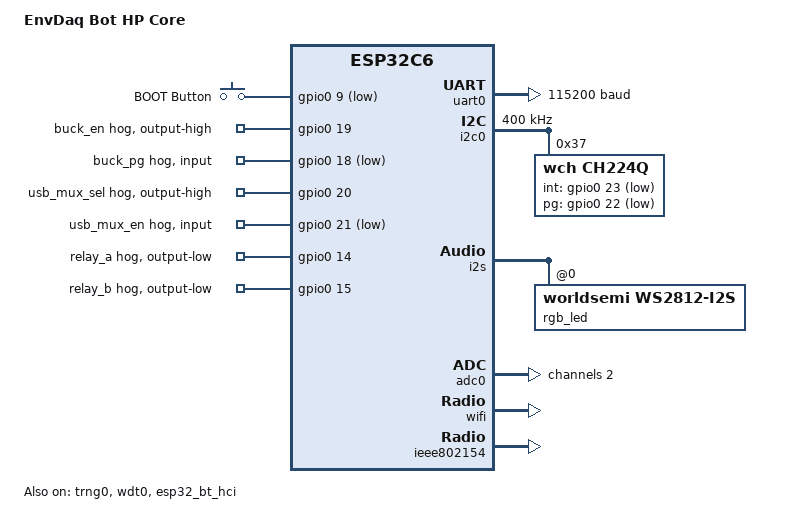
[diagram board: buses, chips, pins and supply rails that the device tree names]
/*
 * Copyright (c) 2026 Yongci
 *
 * SPDX-License-Identifier: Apache-2.0
 */

/dts-v1/;

#include <espressif/esp32c6/esp32c6_wroom_n4.dtsi>
#include "envdaq_bot_hpcore-pinctrl.dtsi"
#include <zephyr/dt-bindings/input/input-event-codes.h>
#include <zephyr/dt-bindings/led/led.h>
#include <espressif/partitions_0x0_default_4M.dtsi>

/ {
	model = "EnvDaq Bot HP Core";
	compatible = "envdaq,bot";

	chosen {
		zephyr,sram = &sramhp;
		zephyr,console = &uart0;
		zephyr,shell-uart = &uart0;
		zephyr,flash = &flash0;
		zephyr,code-partition = &slot0_partition;
		zephyr,ieee802154 = &ieee802154;
	};

	aliases {
		watchdog0 = &wdt0;
		i2c-0 = &i2c0;
		sw0 = &button0;
		rgb0 = &rgb_led;
		led-strip = &rgb_led;
	};

	buttons {
		compatible = "gpio-keys";

		button0: button_0 {
			gpios = <&gpio0 9 (GPIO_PULL_UP | GPIO_ACTIVE_LOW)>;
			label = "BOOT Button";
			zephyr,code = <INPUT_KEY_0>;
		};
	};
};

&uart0 {
	status = "okay";
	current-speed = <115200>;
	pinctrl-0 = <&uart0_default>;
	pinctrl-names = "default";
};

&trng0 {
	status = "okay";
};

&i2c0 {
	status = "okay";
	clock-frequency = <I2C_BITRATE_FAST>;
	pinctrl-0 = <&i2c0_default>;
	pinctrl-names = "default";

	ch224q: usbc-controller@37 {
        compatible = "wch,ch224q";
        reg = <0x37>;
        mode = "i2c";
        voltage-request = <20000>;
        int-gpios = <&gpio0 23 GPIO_ACTIVE_LOW>;
        pg-gpios = <&gpio0 22 GPIO_ACTIVE_LOW>;   /* PG pin - active low */
    };

	/*
	htu21d: {

	};

	bmp180: {

	};

	bh1750: {

	};

	*/
};

&i2s {
	pinctrl-0 = <&i2s_default>;
	pinctrl-names = "default";
	status = "okay";

	dmas = <&dma 3>;
	dma-names = "tx";

	rgb_led: ws2812@0 {
		compatible = "worldsemi,ws2812-i2s";

		reg = <0>;
		chain-length = <1>;
		color-mapping = <LED_COLOR_ID_GREEN
				 LED_COLOR_ID_RED
				 LED_COLOR_ID_BLUE>;
		reset-delay = <500>;
	};
};

&gpio0 {
	status = "okay";

	/*
	 * TPS56A37 pins
	 *
	 * buck_en output HIGH: enable buck;
	 * buck_pg read input LOW: power good
	 */ 
	buck_en {
		gpio-hog;
	    gpios = <19 GPIO_ACTIVE_HIGH>;
		output-high;
		line-name = "buck_en";
	};

	buck_pg {
		gpio-hog;
		gpios = <18 GPIO_ACTIVE_LOW>;
		input;
		line-name = "buck_pg";
	};

	/* 
	 * CH9442Q SEL pins
	 *
	 * SEL==0&&EN==0: select ch224q(default);
	 * SEL==1&&EN==0: select esp32c6-mini-1u;
	 * EN!=0: USB dissconnected 
	 */
	usb_mux_sel {
		gpio-hog;
		gpios = <20 GPIO_ACTIVE_HIGH>;
		output-high;
		line-name = "usb_mux_sel";
	};
	usb_mux_en {
		gpio-hog;
		gpios = <21 GPIO_ACTIVE_LOW>;
		line-name = "usb_mux_en";
	};

	/*
	 * Relay
	 * 
	 * relay_a: K1, relay_b: K2
	 * NPN
	 */
	relay_a {
		gpio-hog;
		gpios = <14 GPIO_ACTIVE_HIGH>;
		output-low;
		line-name = "relay_a";
	};
	relay_b {
		gpio-hog;
		gpios = <15 GPIO_ACTIVE_HIGH>;
		output-low;
		line-name = "relay_b";
	};
};

&adc0 {
    status = "okay";
    #address-cells = <1>;
    #size-cells = <0>;

    /*
	 * ADC1_CH2 (GPIO2)
	 *
	 * Battery voltage read
	 */
    channel@2 {
        reg = <2>;
        zephyr,gain = "ADC_GAIN_1_4";
        zephyr,reference = "ADC_REF_INTERNAL";
        zephyr,vref-mv = <3894>;
        zephyr,acquisition-time = <ADC_ACQ_TIME_DEFAULT>;
        zephyr,resolution = <12>;
    };
};

&wdt0 {
	status = "okay";
};

&wifi {
	status = "okay";
};

&ieee802154 {
	status = "okay";
};

&esp32_bt_hci {
	status = "okay";
};

&dma {
	status = "okay";
};
